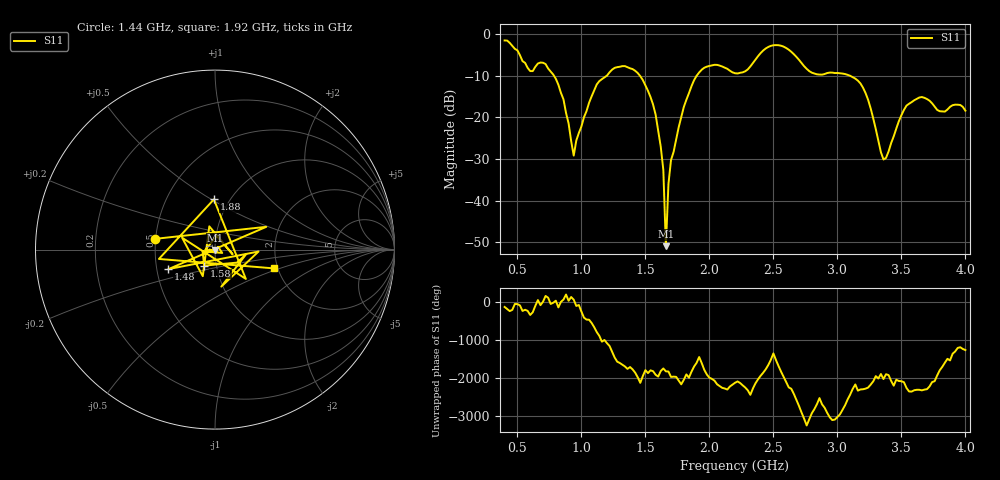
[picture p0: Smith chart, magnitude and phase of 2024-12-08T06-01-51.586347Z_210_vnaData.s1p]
!Created with skrf (http://scikit-rf.org).
# Hz S RI R 50.0
!freq ReS11 ImS11
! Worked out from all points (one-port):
!   181 points, 400 MHz to 4 GHz, reference 50 ohm
!   lowest |S11| = -50.9 dB at 1.66 GHz (marker M1), VSWR 1.01, Z = 50.2 - j0.16 ohm
!   |S11| at or under -10 dB: 786 MHz to 1.197 GHz (411.2 MHz wide, 41.5 % of centre); 1.458 GHz to 1.9 GHz (442.1 MHz wide, 26.3 % of centre); 3.1 GHz to end of sweep
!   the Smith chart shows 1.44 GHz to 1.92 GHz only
!   S11 on the Smith chart (normalised r, x): 1.44 GHz: 0.49, +0.07; 1.48 GHz: 0.58, -0.14; 1.58 GHz: 0.87, -0.16; 1.88 GHz: 0.84, +0.51; 1.92 GHz: 1.92, -0.46
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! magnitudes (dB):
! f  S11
! 400 MHz  -1.5
! 600 MHz  -8.9
! 720 MHz  -7.2
! 860 MHz  -15.7
! 940 MHz  -29.2
! 1.12 GHz  -12.1
! 1.3 GHz  -7.8
! 1.44 GHz  -9.3
! 1.48 GHz  -11.0
! 1.58 GHz  -19.3
! 1.64 GHz  -32.6
! 1.66 GHz  -50.9
! 1.68 GHz  -36.0
! 1.7 GHz  -30.2
! 1.76 GHz  -22.4
! 1.88 GHz  -11.1
! 1.92 GHz  -9.2
! 2.2 GHz  -9.4
! 2.48 GHz  -2.8
! 2.66 GHz  -4.8
! 2.8 GHz  -9.2
! 3.1 GHz  -10.0
! 3.22 GHz  -14.1
! 3.36 GHz  -30.1
! 3.56 GHz  -16.7
! 3.66 GHz  -15.1
! 3.8 GHz  -18.5
! 4 GHz  -18.4
